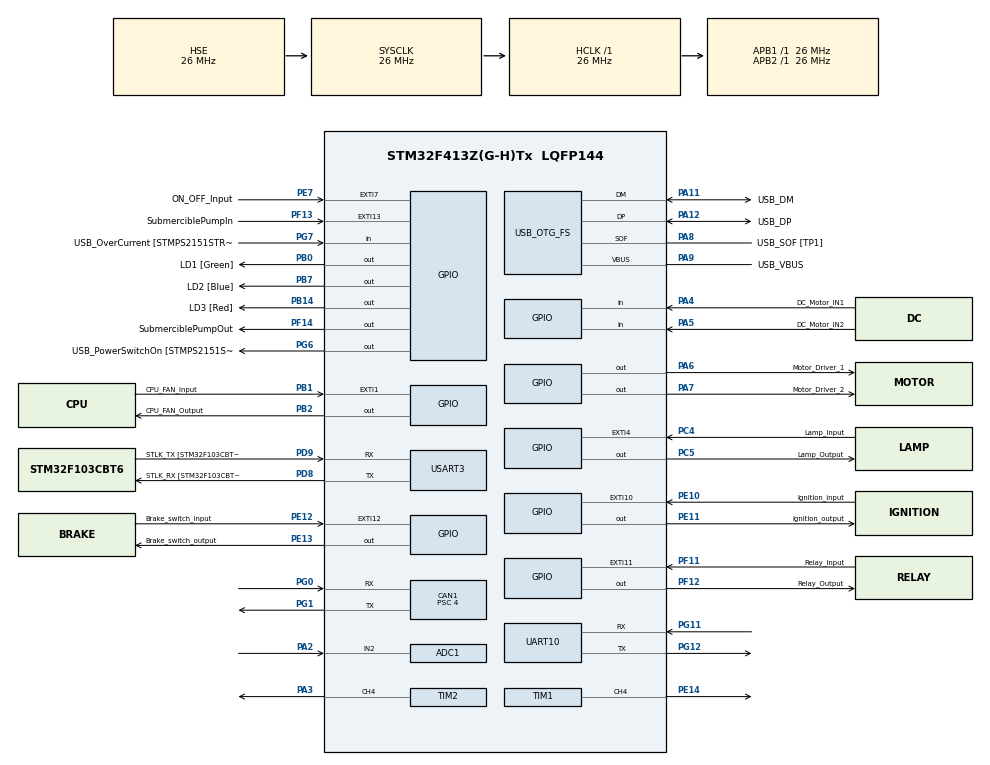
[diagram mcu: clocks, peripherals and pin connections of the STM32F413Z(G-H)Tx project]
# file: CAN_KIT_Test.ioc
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ADC1.Channel-38\#ChannelRegularConversion=ADC_CHANNEL_2
ADC1.Channel-39\#ChannelRegularConversion=ADC_CHANNEL_2
ADC1.Channel-40\#ChannelRegularConversion=ADC_CHANNEL_2
ADC1.Channel-41\#ChannelRegularConversion=ADC_CHANNEL_2
ADC1.Channel-42\#ChannelRegularConversion=ADC_CHANNEL_2
ADC1.Channel-43\#ChannelRegularConversion=ADC_CHANNEL_2
ADC1.Channel-44\#ChannelRegularConversion=ADC_CHANNEL_2
ADC1.Channel-45\#ChannelRegularConversion=ADC_CHANNEL_2
ADC1.Channel-46\#ChannelRegularConversion=ADC_CHANNEL_2
ADC1.Channel-47\#ChannelRegularConversion=ADC_CHANNEL_2
ADC1.Channel-48\#ChannelRegularConversion=ADC_CHANNEL_2
ADC1.Channel-49\#ChannelRegularConversion=ADC_CHANNEL_2
ADC1.Channel-50\#ChannelInjectedConversion=ADC_CHANNEL_2
ADC1.Channel-51\#ChannelInjectedConversion=ADC_CHANNEL_2
ADC1.Channel-52\#ChannelInjectedConversion=ADC_CHANNEL_2
ADC1.Channel-53\#ChannelInjectedConversion=ADC_CHANNEL_2
ADC1.ContinuousConvMode=ENABLE
ADC1.EOCSelection=ADC_EOC_SEQ_CONV
ADC1.InjNumberOfConversion=4
ADC1.InjectedOffset-50\#ChannelInjectedConversion=0
ADC1.InjectedOffset-51\#ChannelInjectedConversion=0
ADC1.InjectedOffset-52\#ChannelInjectedConversion=0
ADC1.InjectedOffset-53\#ChannelInjectedConversion=0
ADC1.InjectedRank-50\#ChannelInjectedConversion=1
ADC1.InjectedRank-51\#ChannelInjectedConversion=2
ADC1.InjectedRank-52\#ChannelInjectedConversion=3
ADC1.InjectedRank-53\#ChannelInjectedConversion=4
ADC1.NbrOfConversion=12
ADC1.NbrOfConversionFlag=1
ADC1.Rank-38\#ChannelRegularConversion=1
ADC1.Rank-39\#ChannelRegularConversion=2
ADC1.Rank-40\#ChannelRegularConversion=3
ADC1.Rank-41\#ChannelRegularConversion=4
ADC1.Rank-42\#ChannelRegularConversion=5
ADC1.Rank-43\#ChannelRegularConversion=6
ADC1.Rank-44\#ChannelRegularConversion=7
ADC1.Rank-45\#ChannelRegularConversion=8
ADC1.Rank-46\#ChannelRegularConversion=9
ADC1.Rank-47\#ChannelRegularConversion=10
ADC1.Rank-48\#ChannelRegularConversion=11
ADC1.Rank-49\#ChannelRegularConversion=12
ADC1.SamplingTime-38\#ChannelRegularConversion=ADC_SAMPLETIME_3CYCLES
ADC1.SamplingTime-39\#ChannelRegularConversion=ADC_SAMPLETIME_3CYCLES
ADC1.SamplingTime-40\#ChannelRegularConversion=ADC_SAMPLETIME_3CYCLES
ADC1.SamplingTime-41\#ChannelRegularConversion=ADC_SAMPLETIME_3CYCLES
ADC1.SamplingTime-42\#ChannelRegularConversion=ADC_SAMPLETIME_3CYCLES
ADC1.SamplingTime-43\#ChannelRegularConversion=ADC_SAMPLETIME_3CYCLES
ADC1.SamplingTime-44\#ChannelRegularConversion=ADC_SAMPLETIME_3CYCLES
ADC1.SamplingTime-45\#ChannelRegularConversion=ADC_SAMPLETIME_3CYCLES
ADC1.SamplingTime-46\#ChannelRegularConversion=ADC_SAMPLETIME_3CYCLES
ADC1.SamplingTime-47\#ChannelRegularConversion=ADC_SAMPLETIME_3CYCLES
ADC1.SamplingTime-48\#ChannelRegularConversion=ADC_SAMPLETIME_3CYCLES
ADC1.SamplingTime-49\#ChannelRegularConversion=ADC_SAMPLETIME_3CYCLES
ADC1.SamplingTime-50\#ChannelInjectedConversion=ADC_SAMPLETIME_3CYCLES
ADC1.SamplingTime-51\#ChannelInjectedConversion=ADC_SAMPLETIME_3CYCLES
ADC1.SamplingTime-52\#ChannelInjectedConversion=ADC_SAMPLETIME_3CYCLES
ADC1.SamplingTime-53\#ChannelInjectedConversion=ADC_SAMPLETIME_3CYCLES
ADC1.ScanConvMode=ENABLE
ADC1.master=1
CAN1.BS1=CAN_BS1_13TQ
CAN1.BS2=CAN_BS2_2TQ
CAN1.CalculateBaudRate=406250
CAN1.CalculateTimeBit=2461.53
CAN1.CalculateTimeQuantum=153.84615384615384
CAN1.Prescaler=4
Mcu.Family=STM32F4
Mcu.Name=STM32F413Z(G-H)Tx
Mcu.Package=LQFP144
NVIC.ADC_IRQn=true\:0\:0\:false\:false\:true\:true\:true
NVIC.CAN1_RX0_IRQn=true\:0\:0\:false\:false\:true\:true\:true
NVIC.EXTI15_10_IRQn=true\:0\:0\:false\:false\:true\:true\:true
NVIC.EXTI1_IRQn=true\:0\:0\:false\:false\:true\:true\:true
NVIC.EXTI4_IRQn=true\:0\:0\:false\:false\:true\:true\:true
NVIC.EXTI9_5_IRQn=true\:0\:0\:false\:false\:true\:true\:true
NVIC.PriorityGroup=NVIC_PRIORITYGROUP_4
NVIC.RCC_IRQn=true\:0\:0\:false\:false\:true\:true\:false
NVIC.TIM2_IRQn=true\:0\:0\:false\:false\:true\:true\:true
NVIC.UART10_IRQn=true\:0\:0\:false\:false\:true\:true\:true
PA10.GPIO_Label=USB_ID
PA10.Signal=USB_OTG_FS_ID
PA11.GPIO_Label=USB_DM
PA11.Mode=Device_Only
PA11.Signal=USB_OTG_FS_DM
PA12.GPIO_Label=USB_DP
PA12.Mode=Device_Only
PA12.Signal=USB_OTG_FS_DP
PA13.GPIO_Label=TMS
PA13.Mode=Serial_Wire
PA13.Signal=SYS_JTMS-SWDIO
PA14.GPIO_Label=TCK
PA14.Mode=Serial_Wire
PA14.Signal=SYS_JTCK-SWCLK
PA2.Signal=ADCx_IN2
PA3.Signal=S_TIM2_CH4
PA4.GPIO_Label=DC_Motor_IN1
PA4.Signal=GPIO_Input
PA5.GPIO_Label=DC_Motor_IN2
PA5.Signal=GPIO_Input
PA6.GPIO_Label=Motor_Driver_1
PA6.Signal=GPIO_Output
PA7.GPIO_Label=Motor_Driver_2
PA7.Signal=GPIO_Output
PA8.GPIO_Label=USB_SOF [TP1]
PA8.Mode=Activate_SOF_FS
PA8.Signal=USB_OTG_FS_SOF
PA9.GPIO_Label=USB_VBUS
PA9.Mode=Activate_VBUS
PA9.Signal=USB_OTG_FS_VBUS
PB0.GPIO_Label=LD1 [Green]
PB0.Signal=GPIO_Output
PB1.GPIO_Label=CPU_FAN_Input
PB1.Signal=GPXTI1
PB14.GPIO_Label=LD3 [Red]
PB14.Signal=GPIO_Output
PB2.GPIO_Label=CPU_FAN_Output
PB2.Signal=GPIO_Output
PB3.GPIO_Label=SWO
PB3.Signal=SYS_JTDO-SWO
PB7.GPIO_Label=LD2 [Blue]
PB7.Signal=GPIO_Output
PC14-OSC32_IN.Mode=LSE-External-Oscillator
PC14-OSC32_IN.Signal=RCC_OSC32_IN
PC15-OSC32_OUT.Mode=LSE-External-Oscillator
PC15-OSC32_OUT.Signal=RCC_OSC32_OUT
PC4.GPIO_Label=Lamp_Input
PC4.Signal=GPXTI4
PC5.GPIO_Label=Lamp_Output
PC5.Signal=GPIO_Output
PD8.GPIO_Label=STLK_RX [STM32F103CBT6_PA3]
PD8.Mode=Asynchronous
PD8.Signal=USART3_TX
PD9.GPIO_Label=STLK_TX [STM32F103CBT6_PA2]
PD9.Mode=Asynchronous
PD9.Signal=USART3_RX
PE10.GPIO_Label=Ignition_input
PE10.Signal=GPXTI10
PE11.GPIO_Label=Ignition_output
PE11.Signal=GPIO_Output
PE12.GPIO_Label=Brake_switch_input
PE12.Signal=GPXTI12
PE13.GPIO_Label=Brake_switch_output
PE13.Signal=GPIO_Output
PE14.Signal=S_TIM1_CH4
PE7.GPIO_Label=ON_OFF_Input
PE7.Signal=GPXTI7
PF11.GPIO_Label=Relay_Input
PF11.Signal=GPXTI11
PF12.GPIO_Label=Relay_Output
PF12.Signal=GPIO_Output
PF13.GPIO_Label=SubmerciblePumpIn
PF13.Signal=GPXTI13
PF14.GPIO_Label=SubmerciblePumpOut
PF14.Signal=GPIO_Output
PG0.Mode=CAN_Activate
PG0.Signal=CAN1_RX
PG1.Mode=CAN_Activate
PG1.Signal=CAN1_TX
PG11.Mode=Asynchronous
PG11.Signal=UART10_RX
PG12.Mode=Asynchronous
PG12.Signal=UART10_TX
PG6.GPIO_Label=USB_PowerSwitchOn [STMPS2151STR_EN]
PG6.Signal=GPIO_Output
PG7.GPIO_Label=USB_OverCurrent [STMPS2151STR_FAULT]
PG7.Signal=GPIO_Input
PH0\ -\ OSC_IN.GPIO_Label=MCO
PH0\ -\ OSC_IN.Mode=HSE-External-Oscillator
PH0\ -\ OSC_IN.Signal=RCC_OSC_IN
PH1\ -\ OSC_OUT.Mode=HSE-External-Oscillator
PH1\ -\ OSC_OUT.Signal=RCC_OSC_OUT
ProjectManager.HeapSize=0x200
ProjectManager.StackSize=0x400
ProjectManager.TargetToolchain=SW4STM32
RCC.48MHZClocksFreq_Value=24000000
RCC.AHBFreq_Value=26000000
RCC.APB1Freq_Value=26000000
RCC.APB1TimFreq_Value=26000000
RCC.APB2Freq_Value=26000000
RCC.APB2TimFreq_Value=26000000
RCC.CortexFreq_Value=26000000
RCC.HCLKFreq_Value=26000000
RCC.HSE_VALUE=26000000
RCC.HSI_VALUE=16000000
RCC.PLLI2SM=13
RCC.PLLI2SN=72
RCC.PLLI2SQ=3
RCC.PLLM=2
RCC.PLLMUL=RCC_PLL_MUL9
RCC.PLLN=385
RCC.PLLP=RCC_PLLP_DIV4
RCC.PRESCALERUSB=RCC_USBCLKSOURCE_PLL_DIV1_5
RCC.SYSCLKFreq_VALUE=26000000
RCC.SYSCLKSource=RCC_SYSCLKSOURCE_HSE
RCC.SYSCLKSourceVirtual=RCC_SYSCLKSOURCE_PLLCLK
RCC.USBCLockSelection=RCC_CLK48CLKSOURCE_PLLI2SQ
RCC.USBFreq_Value=48000000
RCC.VCOOutputFreq_Value=5005000000
SH.ADCx_IN2.0=ADC1_IN2,IN2
SH.S_TIM1_CH4.0=TIM1_CH4,PWM Generation4 CH4
SH.S_TIM2_CH4.0=TIM2_CH4,PWM Generation4 CH4
TIM1.Channel-PWM\ Generation4\ CH4=TIM_CHANNEL_4
TIM2.Channel-PWM\ Generation4\ CH4=TIM_CHANNEL_4
TIM3.Channel-Output\ Compare4\ No\ Output=TIM_CHANNEL_4
UART10.VirtualMode=Asynchronous
USART3.VirtualMode=VM_ASYNC
USB_OTG_FS.VirtualMode=Device_Only
VP_TIM1_VS_ClockSourceINT.Mode=Internal
VP_TIM2_VS_ClockSourceINT.Mode=Internal
VP_TIM3_VS_no_output4.Mode=Output Compare4 No Output
board=NUCLEO-F413ZH

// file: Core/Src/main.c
/* USER CODE BEGIN Header */
/**
  ******************************************************************************
  * @file           : main.c
  * @brief          : Main program body
  ******************************************************************************
  * @attention
  *
  * <h2><center>&copy; Copyright (c) 2021 STMicroelectronics.
  * All rights reserved.</center></h2>
  *
  * This software component is licensed by ST under BSD 3-Clause license,
  * the "License"; You may not use this file except in compliance with the
  * License. You may obtain a copy of the License at:
  *                        opensource.org/licenses/BSD-3-Clause
  *
  ******************************************************************************
  */
/* USER CODE END Header */
#include "main.h"
#include "adc.h"
#include "can.h"
#include "tim.h"
#include "usart.h"
#include "usb_otg.h"
#include "gpio.h"

/* USER CODE BEGIN Includes */
#include "../Custom_Libs/Inc/CAN_Driver.h"
#include "../Custom_Libs/Inc/Debug.h"
#include "../Custom_Libs/Inc/CAN_Application.h"
#include "../Custom_Libs/Inc/Enumeration.h"

/* USER CODE END Includes */

void SystemClock_Config(void);

int main(void)
{

  /* MCU Configuration--------------------------------------------------------*/

  /* Reset of all peripherals, Initializes the Flash interface and the Systick. */
  HAL_Init();

  /* Configure the system clock */
  SystemClock_Config();

  /* Initialize all configured peripherals */
  MX_GPIO_Init();
  MX_ADC1_Init();
  MX_CAN1_Init();
  MX_TIM2_Init();
  MX_UART10_Init();
  MX_USART3_UART_Init();
  MX_USB_OTG_FS_PCD_Init();
  MX_TIM1_Init();
  MX_TIM3_Init();
  /* USER CODE BEGIN 2 */
  CANSetup();
  /* USER CODE END 2 */

  /* Infinite loop */
  /* USER CODE BEGIN WHILE */
  uint8_t data[8]={10,20,30,40,50,60,70,80};
  while (1)
  {
    /* USER CODE END WHILE */

    /* USER CODE BEGIN 3 */

/*  *** Light Dependent Resistor ***    */
	  uint16_t ldr_value = 0, ldr_buff[16];

	  HAL_ADC_PollForConversion(&hadc1, 10);
	  ldr_value = HAL_ADC_GetValue(&hadc1);
	  sprintf(ldr_buff,"%lu",ldr_value);
	  __HAL_TIM_SetCompare(&htim2, TIM_CHANNEL_4, ldr_value);
	  DebugPrint(ldr_buff);

/*  *** Negative Temprature Sensor *** */
	  uint32_t adc_value=0;

	  HAL_ADC_Start(&hadc1);
	  HAL_ADC_PollForConversion(&hadc1,100);
	  adc_value = HAL_ADC_GetValue(&hadc1);
	  __HAL_TIM_SetCompare(&htim2,TIM_CHANNEL_4,adc_value);

/***pot****/
	  uint32_t buff[16];

	  HAL_ADC_PollForConversion(&hadc1, 10);
	  adc_value = HAL_ADC_GetValue(&hadc1);
	  sprintf(buff,"%lu",adc_value);
	  __HAL_TIM_SetCompare(&htim2, TIM_CHANNEL_4, adc_value);
	  DebugPrint(buff);

/* ***   Interfacing with DC MOTOR ***     */
/*  ***  if (IN-1 = 0) and (IN-2 = 0) Motor Should in IDLE State  ***  */
	  if((HAL_GPIO_ReadPin(DC_Motor_IN1_GPIO_Port,DC_Motor_IN1_Pin) == GPIO_PIN_RESET) && (HAL_GPIO_ReadPin(DC_Motor_IN1_GPIO_Port,DC_Motor_IN1_Pin) == GPIO_PIN_RESET))
	  {
		  HAL_GPIO_WritePin(Motor_Driver_1_GPIO_Port, Motor_Driver_1_Pin,GPIO_PIN_RESET);
		  HAL_GPIO_WritePin(Motor_Driver_2_GPIO_Port, Motor_Driver_2_Pin,GPIO_PIN_RESET);
	  }

/*  ***  if (IN-1 = 0) and (IN-2 = 1) Motor Should Anti-Clockwise State  ***  */
	  if((HAL_GPIO_ReadPin(DC_Motor_IN1_GPIO_Port,DC_Motor_IN1_Pin) == GPIO_PIN_RESET) && (HAL_GPIO_ReadPin(DC_Motor_IN1_GPIO_Port,DC_Motor_IN1_Pin) == GPIO_PIN_SET))
	  {
		  HAL_GPIO_WritePin(Motor_Driver_1_GPIO_Port, Motor_Driver_1_Pin,GPIO_PIN_RESET);
		  HAL_GPIO_WritePin(Motor_Driver_2_GPIO_Port, Motor_Driver_2_Pin,GPIO_PIN_SET);
	  }

/*  ***  if (IN-1 = 1) and (IN-2 = 0) Motor Should Clockwise State  ***  */
	  if((HAL_GPIO_ReadPin(DC_Motor_IN1_GPIO_Port,DC_Motor_IN1_Pin) == GPIO_PIN_SET) && (HAL_GPIO_ReadPin(DC_Motor_IN1_GPIO_Port,DC_Motor_IN1_Pin) == GPIO_PIN_RESET))
	  {
		  HAL_GPIO_WritePin(Motor_Driver_1_GPIO_Port, Motor_Driver_1_Pin,GPIO_PIN_SET);
		  HAL_GPIO_WritePin(Motor_Driver_2_GPIO_Port, Motor_Driver_2_Pin,GPIO_PIN_RESET);
	  }

/*  ***  if (IN-1 = 1) and (IN-2 = 1) Motor Should in IDLE State  ***  */
	  if((HAL_GPIO_ReadPin(DC_Motor_IN1_GPIO_Port,DC_Motor_IN1_Pin) == GPIO_PIN_SET) && (HAL_GPIO_ReadPin(DC_Motor_IN1_GPIO_Port,DC_Motor_IN1_Pin) == GPIO_PIN_SET))
	  {
		  HAL_GPIO_WritePin(Motor_Driver_1_GPIO_Port, Motor_Driver_1_Pin,GPIO_PIN_SET);
		  HAL_GPIO_WritePin(Motor_Driver_2_GPIO_Port, Motor_Driver_2_Pin,GPIO_PIN_SET);
	  }

/*   *** CAN Transmission  ***   */
	  Transmit_CANID(ID1,S,data,8);
	  HAL_Delay(1000);
  }
  /* USER CODE END 3 */
}

void SystemClock_Config(void)
{
  RCC_OscInitTypeDef RCC_OscInitStruct = {0};
  RCC_ClkInitTypeDef RCC_ClkInitStruct = {0};
  RCC_PeriphCLKInitTypeDef PeriphClkInitStruct = {0};

  /** Macro to configure the PLL clock source
  */
  __HAL_RCC_PLL_PLLSOURCE_CONFIG(RCC_PLLSOURCE_HSE);
  /** Configure the main internal regulator output voltage
  */
  __HAL_RCC_PWR_CLK_ENABLE();
  __HAL_PWR_VOLTAGESCALING_CONFIG(PWR_REGULATOR_VOLTAGE_SCALE1);
  /** Initializes the RCC Oscillators according to the specified parameters
  * in the RCC_OscInitTypeDef structure.
  */
  RCC_OscInitStruct.OscillatorType = RCC_OSCILLATORTYPE_HSE;
  RCC_OscInitStruct.HSEState = RCC_HSE_ON;
  RCC_OscInitStruct.PLL.PLLState = RCC_PLL_NONE;
  if (HAL_RCC_OscConfig(&RCC_OscInitStruct) != HAL_OK)
  {
    Error_Handler();
  }
  /** Initializes the CPU, AHB and APB buses clocks
  */
  RCC_ClkInitStruct.ClockType = RCC_CLOCKTYPE_HCLK|RCC_CLOCKTYPE_SYSCLK
                              |RCC_CLOCKTYPE_PCLK1|RCC_CLOCKTYPE_PCLK2;
  RCC_ClkInitStruct.SYSCLKSource = RCC_SYSCLKSOURCE_HSE;
  RCC_ClkInitStruct.AHBCLKDivider = RCC_SYSCLK_DIV1;
  RCC_ClkInitStruct.APB1CLKDivider = RCC_HCLK_DIV1;
  RCC_ClkInitStruct.APB2CLKDivider = RCC_HCLK_DIV1;

  if (HAL_RCC_ClockConfig(&RCC_ClkInitStruct, FLASH_LATENCY_1) != HAL_OK)
  {
    Error_Handler();
  }
  PeriphClkInitStruct.PeriphClockSelection = RCC_PERIPHCLK_CLK48;
  PeriphClkInitStruct.PLLI2S.PLLI2SN = 72;
  PeriphClkInitStruct.PLLI2S.PLLI2SM = 13;
  PeriphClkInitStruct.PLLI2S.PLLI2SR = 2;
  PeriphClkInitStruct.PLLI2S.PLLI2SQ = 3;
  PeriphClkInitStruct.Clk48ClockSelection = RCC_CLK48CLKSOURCE_PLLI2SQ;
  PeriphClkInitStruct.PLLI2SSelection = RCC_PLLI2SCLKSOURCE_PLLSRC;
  if (HAL_RCCEx_PeriphCLKConfig(&PeriphClkInitStruct) != HAL_OK)
  {
    Error_Handler();
  }
}

/* USER CODE BEGIN 4 */
void HAL_GPIO_EXTI_Callback(uint16_t GPIO_Pin)
{
/*  *** Bulb Interfacing ***      */
	if(GPIO_Pin == Lamp_Input_Pin)
	{
		HAL_GPIO_WritePin(Lamp_Output_GPIO_Port, Lamp_Output_Pin,GPIO_PIN_SET);
	}

/*  *** CPU FAN-Interfacing ***      */
	if(GPIO_Pin == CPU_FAN_Input_Pin)
	{
		HAL_GPIO_WritePin(CPU_FAN_Output_GPIO_Port, CPU_FAN_Output_Pin,GPIO_PIN_SET);
	}

/*  *** Relay Interfacing ***  */
	if(GPIO_Pin == Relay_Input_Pin)
	{
		HAL_GPIO_WritePin(Relay_Output_GPIO_Port, Relay_Output_Pin,GPIO_PIN_SET);
	}

/*  *** SubMersible Water Pump *** */
	if(GPIO_Pin == SubmerciblePumpIn_Pin)
	{
		HAL_GPIO_WritePin(SubmerciblePumpOut_GPIO_Port,SubmerciblePumpOut_Pin,GPIO_PIN_SET);
	}

/*  *** SubMersible Water Pump *** */
	if(GPIO_Pin == ON_OFF_Input_GPIO_Port)
	{
		HAL_GPIO_WritePin(GPIOG,GPIO_PIN_14,GPIO_PIN_RESET);
	}
}
/* USER CODE END 4 */

void Error_Handler(void)
{
  __disable_irq();
  while (1)
  {
  }
}

/************************ (C) COPYRIGHT STMicroelectronics *****END OF FILE****/
